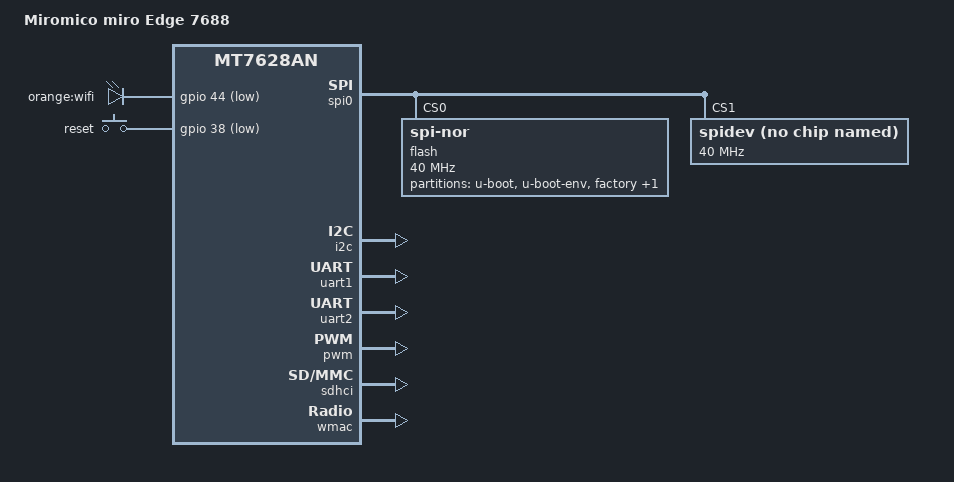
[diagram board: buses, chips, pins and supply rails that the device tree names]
#include "mt7628an.dtsi"

#include <dt-bindings/gpio/gpio.h>
#include <dt-bindings/input/input.h>

/ {
	compatible = "miromico,miro-edge-7688", "mediatek,mt7628an-soc";
	model = "Miromico miro Edge 7688";

	aliases {
		led-boot = &led_wifi;
		led-failsafe = &led_wifi;
		led-running = &led_wifi;
		led-upgrade = &led_wifi;
	};

	chosen {
		bootargs = "console=ttyS2,115200";
	};

	aliases {
		serial0 = &uart2;
	};

	bootstrap {
		compatible = "mediatek,linkit";

		status = "okay";
	};

	leds {
		compatible = "gpio-leds";

		led_wifi: wifi {
			label = "orange:wifi";
			gpios = <&gpio 44 GPIO_ACTIVE_LOW>;
		};
	};

	keys {
		compatible = "gpio-keys";

		wps {
			label = "reset";
			gpios = <&gpio 38 GPIO_ACTIVE_LOW>;
			linux,code = <KEY_WPS_BUTTON>;
		};
	};
};

&state_default {
	gpio {
		groups = "gpio";
		function = "gpio";
	};

	refclk {
		groups = "refclk";
		function = "gpio";
	};

	i2s {
		groups = "i2s";
		function = "gpio";
	};

	spis {
		groups = "spis";
		function = "gpio";
	};

	wled_an {
		groups = "wled_an";
		function = "gpio";
	};

	wdt {
		groups = "wdt";
		function = "gpio";
	};
};

&spi0 {
	status = "okay";

	pinctrl-names = "default";
	pinctrl-0 = <&spi_pins>, <&spi_cs1_pins>;

	flash@0 {
		compatible = "jedec,spi-nor";
		reg = <0>;
		spi-max-frequency = <40000000>;

		partitions {
			compatible = "fixed-partitions";
			#address-cells = <1>;
			#size-cells = <1>;

			partition@0 {
				label = "u-boot";
				reg = <0x0 0xA0000>;
				read-only;
			};

			partition@A0000 {
				label = "u-boot-env";
				reg = <0xA0000 0x10000>;
			};

			factory: partition@B0000 {
				label = "factory";
				reg = <0xB0000 0x10000>;
				read-only;
			};

			partition@C0000 {
				compatible = "denx,uimage";
				label = "firmware";
				reg = <0xC0000 0x1f40000>;
			};
		};
	};

	spidev@1 {
		#address-cells = <1>;
		#size-cells = <1>;
		compatible = "linux,spidev";
		reg = <1>;
		spi-max-frequency = <40000000>;
	};
};

&i2c {
	status = "okay";
};

&uart1 {
	status = "okay";
};

&uart2 {
	status = "okay";
};

&pwm {
	status = "okay";
};

&ethernet {
	mtd-mac-address = <&factory 0x2e>;
};

&sdhci {
	status = "okay";
	mediatek,cd-high;
};

&wmac {
	status = "okay";
};
